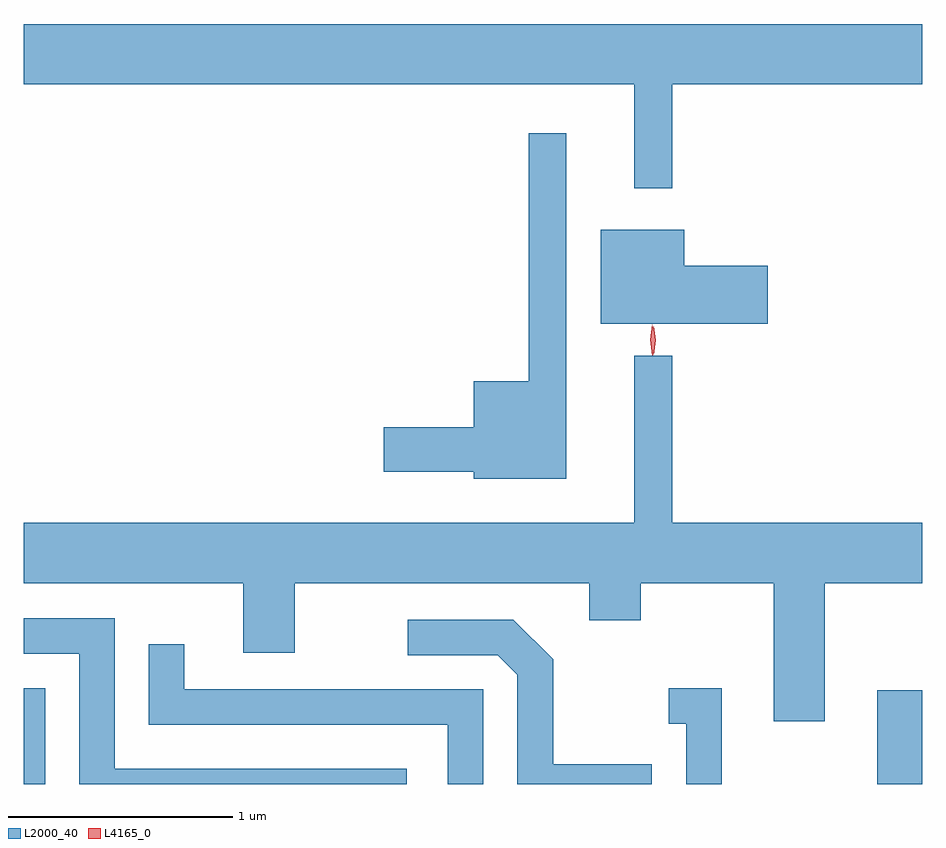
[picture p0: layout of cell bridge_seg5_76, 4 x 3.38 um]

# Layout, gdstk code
import gdstk
lib = gdstk.Library(unit=1e-6, precision=1e-09)
def R(c, l, rs):  # rectangles x0, y0, x1, y1
    for r in rs: c.add(gdstk.rectangle(r[:2], r[2:], *l))
def P(c, l, *ps):  # polygons
    for p in ps: c.add(gdstk.Polygon(p, *l))
L2000_40 = (2000, 40)
L4165_0 = (4165, 0)

bridge_seg5_76 = lib.new_cell('bridge_seg5_76')
R(bridge_seg5_76, L2000_40, [(1156.423,1478.102,1156.519,1478.529), (1160.221,1478.102,1160.423,1478.519)])
P(bridge_seg5_76, L2000_40, [(1159.309,1481.216),(1160.423,1481.216),(1160.423,1481.484),(1156.423,1481.484),(1156.423,1481.216),(1159.141,1481.216),(1159.141,1480.753),(1159.309,1480.753)],
  [(1158.839,1480.998),(1158.671,1480.998),(1158.671,1479.894),(1158.426,1479.894),(1158.426,1479.689),(1158.026,1479.689),(1158.026,1479.491),(1158.426,1479.491),(1158.426,1479.461),(1158.839,1479.461)],
  [(1159.734,1480.409),(1159.364,1480.409),(1159.364,1480.569),(1158.991,1480.569),(1158.991,1480.151),(1159.734,1480.151)],
  [(1159.989,1478.996),(1160.423,1478.996),(1160.423,1479.264),(1159.309,1479.264),(1159.309,1480.008),(1159.141,1480.008),(1159.141,1479.264),(1156.423,1479.264),(1156.423,1478.996),(1157.401,1478.996),(1157.401,1478.686),(1157.629,1478.686),(1157.629,1478.996),(1158.941,1478.996),(1158.941,1478.831),(1159.169,1478.831),(1159.169,1478.996),(1159.761,1478.996),(1159.761,1478.381),(1159.989,1478.381)],
  [(1158.129,1478.169),(1156.829,1478.169),(1156.829,1478.839),(1156.423,1478.839),(1156.423,1478.681),(1156.671,1478.681),(1156.671,1478.102),(1158.129,1478.102)],
  [(1159.219,1478.189),(1158.779,1478.189),(1158.779,1478.657),(1158.602,1478.834),(1158.133,1478.834),(1158.133,1478.676),(1158.534,1478.676),(1158.621,1478.589),(1158.621,1478.102),(1159.219,1478.102)],
  [(1158.469,1478.524),(1157.139,1478.524),(1157.139,1478.723),(1156.981,1478.723),(1156.981,1478.366),(1158.311,1478.366),(1158.311,1478.102),(1158.469,1478.102)],
  [(1159.529,1478.529),(1159.293,1478.529),(1159.293,1478.371),(1159.371,1478.371),(1159.371,1478.102),(1159.529,1478.102)])
P(bridge_seg5_76, L4165_0, [(1159.227,1480.013),(1159.227,1480.013),(1159.217,1480.076),(1159.227,1480.139),(1159.227,1480.14),(1159.228,1480.139),(1159.237,1480.076),(1159.228,1480.013)],
  [(1159.221,1480.01),(1159.211,1480.078),(1159.22,1480.146),(1159.22,1480.146),(1159.221,1480.146),(1159.231,1480.078),(1159.222,1480.01),(1159.222,1480.01)])

lib.write_gds('bridge_seg5_76.gds')
